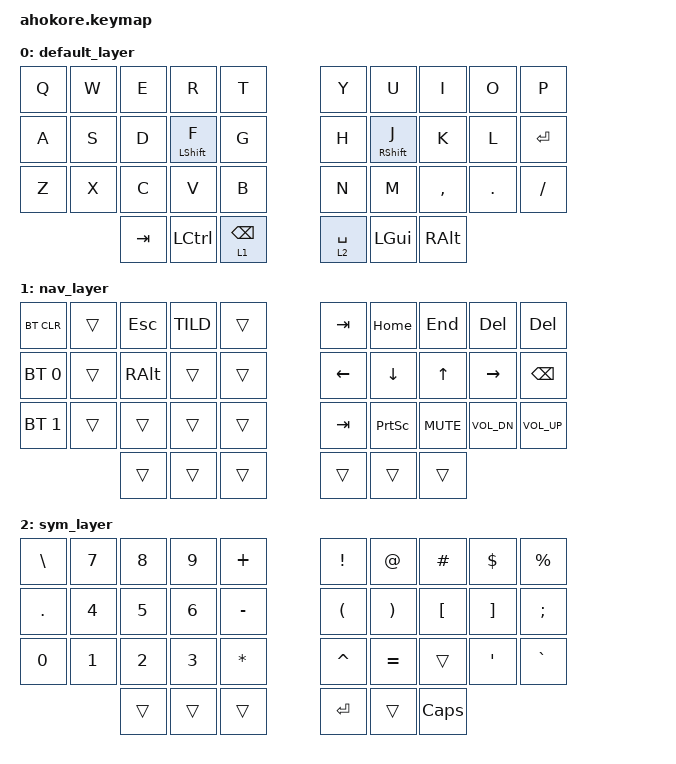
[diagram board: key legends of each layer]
/*
 * Copyright (c) 2020 The ZMK Contributors
 *
 * SPDX-License-Identifier: MIT
 */

#include <behaviors.dtsi>
#include <dt-bindings/zmk/keys.h>
#include <dt-bindings/zmk/bt.h>

#define default_layer 0
#define nav_layer   1
#define sym_layer   2

&mt {
    tapping_term_ms = <130>;
};

/ {
        keymap {
                compatible = "zmk,keymap";

                default_layer {

                        bindings = <
   &kp Q &kp W &kp E &kp R        &kp T         &kp Y &kp U         &kp I      &kp O   &kp P
   &kp A &kp S &kp D &mt LSHFT F  &kp G         &kp H &mt RSHFT J   &kp K      &kp L   &kp RET
   &kp Z &kp X &kp C &kp V        &kp B         &kp N &kp M         &kp COMMA  &kp DOT &kp FSLH
          &kp TAB &kp LCTRL &lt 1 BSPC          &lt 2 SPC &kp LGUI &kp RALT
                        >;
                };
                nav_layer {

                        bindings = <
   &bt BT_CLR   &trans  &kp ESC  &kp TILD &trans      &kp TAB   &kp HOME  &kp END     &kp DEL        &kp DEL
   &bt BT_SEL 0 &trans  &kp RALT &trans   &trans      &kp LEFT  &kp DOWN  &kp UP      &kp RIGHT      &kp BKSP
   &bt BT_SEL 1 &trans  &trans   &trans   &trans      &kp TAB   &kp PSCRN &kp C_MUTE  &kp C_VOL_DN   &kp C_VOL_UP
                        &trans   &trans   &trans      &trans   &trans   &trans
                        >;
                };

                sym_layer {
                
                        bindings = <
   &kp BSLH  &kp N7    &kp N8    &kp N9    &kp PLUS       &kp EXCL     &kp AT     &kp HASH  &kp DLLR &kp PRCNT
   &kp DOT   &kp N4    &kp N5    &kp N6    &kp MINUS      &kp LPAR     &kp RPAR   &kp LBKT  &kp RBKT &kp SCLN
   &kp N0    &kp N1    &kp N2    &kp N3    &kp STAR       &kp CARET    &kp EQUAL  &trans    &kp SQT  &kp GRAVE
                       &trans    &trans    &trans         &kp RET   &trans   &kp CAPS
                        >;
                };
              };
          };
